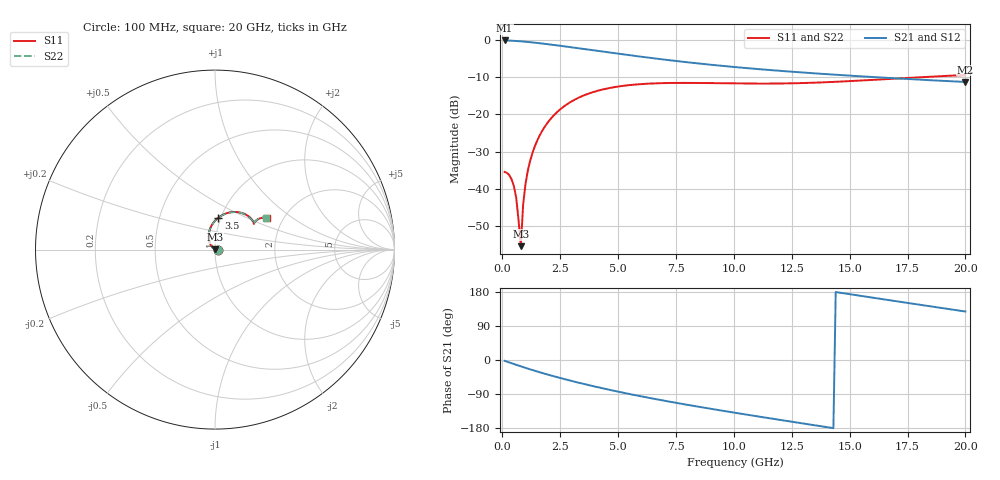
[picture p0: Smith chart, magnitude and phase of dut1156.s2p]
! Touchstone file exported from HFSS 2024.1.0
!  File:  C:/UserFiles/LocalFiles/RDL_TSV_Batchsim/temp_RDL_TSV_1156_1780118864.aedt
!  Generated:  01:47:43 PM May 30, 2026
!  Design:  RDL_TSV
!  Project:  temp_RDL_TSV_1156_1780118864
!  Setup:  Setup1
!  Solution:  Sweep
! Variables:
!  dtsv = 11.46um
!  hbump = 3um
!  htsv = 94.87um
!  ldown = 575.78um
!  lrdl = 340.87um
!  p = 40
!  p1 = 54.31um
!  rhole = 10um
!  subl = 3090.82um
!  t = 450um
!  tdown = 2.99um
!  trdl = 3.69um
!  viad = 10um
!  wdown = 19.24um
!  wrdl = 21.92um
!  xbump = 18um
# GHz S MA R 50.000000
! Terminal data exported
! Port[1] = TM1_1_T1
! Port[2] = TM1_4_T1
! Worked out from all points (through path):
!   200 points, 100 MHz to 20 GHz, reference 50 ohm
!   highest |S21| = -0.15 dB at 100 MHz (marker M1); lowest = -11.3 dB at 20 GHz (marker M2)
!   group delay of S21, straight-line fit = 30.1 ps
!   lowest |S11| = -55.3 dB at 800 MHz (marker M3), VSWR 1.00, Z = 50 + j0.17 ohm
!   |S11| at or under -10 dB: start of sweep to 18.07 GHz
!   |S22| runs from -55.4 to -9.4 dB; largest |S21 - S12| = 1.4e-13
!   S11 on the Smith chart (normalised r, x): 100 MHz: 1.03, -0.00; 3.5 GHz: 0.97, +0.36; 20 GHz: 1.64, +0.66
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0.1  0.01692 -0.6  0.9823 -2.2  0.9823 -2.2  0.01692 -0.6
! Gamma 0 0 0 0
! Port Impedance 50 0 50 0
0.3  0.01535 -4.0  0.978 -6.5  0.978 -6.5  0.01536 -4.0
0.5  0.01094 -8.3  0.971 -10.7  0.971 -10.7  0.01096 -8.3
0.6  0.007683 -8.5  0.9667 -12.7  0.9667 -12.7  0.007703 -8.6
0.7  0.003877 -1.1  0.9619 -14.8  0.9619 -14.8  0.003903 -1.2
0.8  0.001709 96.5  0.9567 -16.8  0.9567 -16.8  0.001693 95.4
0.9  0.00614 136.7  0.951 -18.8  0.951 -18.8  0.006097 136.6
1  0.01156 139.8  0.945 -20.8  0.945 -20.8  0.01151 139.7
1.1  0.01744 138.9  0.9386 -22.7  0.9386 -22.7  0.01737 138.8
1.2  0.02368 136.9  0.9319 -24.6  0.9319 -24.6  0.0236 136.9
1.5  0.04403 129.2  0.9106 -30.2  0.9106 -30.2  0.04391 129.2
1.9  0.07321 118.6  0.8802 -37.4  0.8802 -37.4  0.07303 118.6
2.3  0.1026 108.7  0.849 -44.2  0.849 -44.2  0.1024 108.7
2.8  0.1372 97.6  0.81 -52.2  0.81 -52.2  0.1369 97.5
3.5  0.1788 84.1  0.757 -62.9  0.757 -62.9  0.1784 84.1
5.1  0.2391 61.2  0.6472 -84.8  0.6472 -84.8  0.2385 61.2
6.8  0.2624 46.0  0.5531 -105.2  0.5531 -105.2  0.2615 46.0
8.3  0.2645 38.2  0.4889 -121.5  0.4889 -121.5  0.2636 38.2
10.1  0.2603 34.0  0.4304 -139.8  0.4304 -139.8  0.2593 34.0
13.4  0.2661 34.4  0.3572 -171.4  0.3572 -171.4  0.2652 34.5
16.7  0.2994 35.1  0.3084 157.9  0.3084 157.9  0.2988 35.2
20  0.3375 31.6  0.2726 128.0  0.2726 128.0  0.337 31.8
